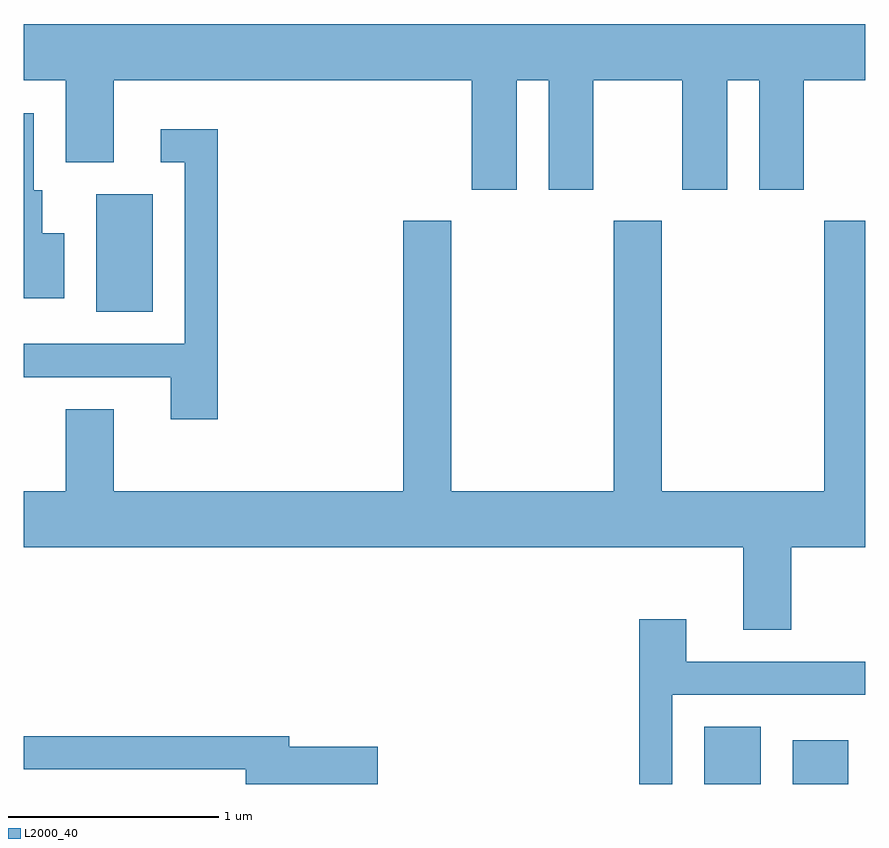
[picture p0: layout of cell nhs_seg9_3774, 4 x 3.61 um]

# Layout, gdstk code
import gdstk
lib = gdstk.Library(unit=1e-6, precision=1e-09)
def R(c, l, rs):  # rectangles x0, y0, x1, y1
    for r in rs: c.add(gdstk.rectangle(r[:2], r[2:], *l))
def P(c, l, *ps):  # polygons
    for p in ps: c.add(gdstk.Polygon(p, *l))
L2000_40 = (2000, 40)

nhs_seg9_3774 = lib.new_cell('nhs_seg9_3774')
R(nhs_seg9_3774, L2000_40, [(298.846,2028.432,299.114,2028.704), (299.266,2028.432,299.529,2028.639), (295.956,2030.676,296.224,2031.234)])
P(nhs_seg9_3774, L2000_40, [(297.954,2031.776),(298.106,2031.776),(298.106,2031.256),(298.319,2031.256),(298.319,2031.776),(298.741,2031.776),(298.741,2031.256),(298.954,2031.256),(298.954,2031.776),(299.106,2031.776),(299.106,2031.256),(299.319,2031.256),(299.319,2031.776),(299.611,2031.776),(299.611,2032.044),(295.611,2032.044),(295.611,2031.776),(295.811,2031.776),(295.811,2031.386),(296.039,2031.386),(296.039,2031.776),(297.741,2031.776),(297.741,2031.256),(297.954,2031.256)],
  [(295.804,2031.049),(295.699,2031.049),(295.699,2031.254),(295.659,2031.254),(295.659,2031.619),(295.611,2031.619),(295.611,2030.741),(295.804,2030.741)],
  [(296.534,2031.544),(296.263,2031.544),(296.263,2031.386),(296.376,2031.386),(296.376,2030.524),(295.611,2030.524),(295.611,2030.366),(296.311,2030.366),(296.311,2030.166),(296.534,2030.166)],
  [(299.259,2029.556),(299.611,2029.556),(299.611,2031.109),(299.416,2031.109),(299.416,2029.824),(298.644,2029.824),(298.644,2031.109),(298.416,2031.109),(298.416,2029.824),(297.644,2029.824),(297.644,2031.109),(297.416,2031.109),(297.416,2029.824),(296.039,2029.824),(296.039,2030.214),(295.811,2030.214),(295.811,2029.824),(295.611,2029.824),(295.611,2029.556),(299.031,2029.556),(299.031,2029.166),(299.259,2029.166)],
  [(298.694,2028.856),(299.611,2028.856),(299.611,2029.014),(298.759,2029.014),(298.759,2029.214),(298.536,2029.214),(298.536,2028.432),(298.694,2028.432)],
  [(297.294,2028.609),(296.874,2028.609),(296.874,2028.659),(295.611,2028.659),(295.611,2028.501),(296.666,2028.501),(296.666,2028.432),(297.294,2028.432)])

lib.write_gds('nhs_seg9_3774.gds')
